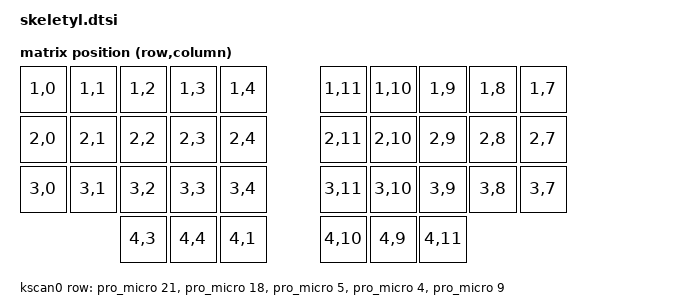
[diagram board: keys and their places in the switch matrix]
#include <dt-bindings/zmk/matrix_transform.h>

/ {
    chosen {
        zmk,kscan = &kscan0;
        zmk,matrix_transform = &default_transform;
    };

    vbatt: vbatt {
        compatible = "zmk,battery-nrf-vddh";
    };

    default_transform: keymap_transform_0 {
        compatible = "zmk,matrix-transform";
        columns = <12>;
        rows = <5>;

        map = <
RC(1,0) RC(1,1) RC(1,2) RC(1,3) RC(1,4)                 RC(1,11) RC(1,10) RC(1,9) RC(1,8) RC(1,7)
RC(2,0) RC(2,1) RC(2,2) RC(2,3) RC(2,4)                 RC(2,11) RC(2,10) RC(2,9) RC(2,8) RC(2,7)
RC(3,0) RC(3,1) RC(3,2) RC(3,3) RC(3,4)                 RC(3,11) RC(3,10) RC(3,9) RC(3,8) RC(3,7)
                RC(4,3) RC(4,4) RC(4,1)                 RC(4,10) RC(4,9) RC(4,11)
        >;
    };

    kscan0: kscan {
        compatible = "zmk,kscan-gpio-matrix";
        diode-direction = "row2col";
        wakeup-source;

        row-gpios
            = <&pro_micro 21 GPIO_ACTIVE_HIGH>
            , <&pro_micro 18 GPIO_ACTIVE_HIGH>
            , <&pro_micro 5 GPIO_ACTIVE_HIGH>
            , <&pro_micro 4 GPIO_ACTIVE_HIGH>
            , <&pro_micro 9 GPIO_ACTIVE_HIGH>
            ;
    };
};
